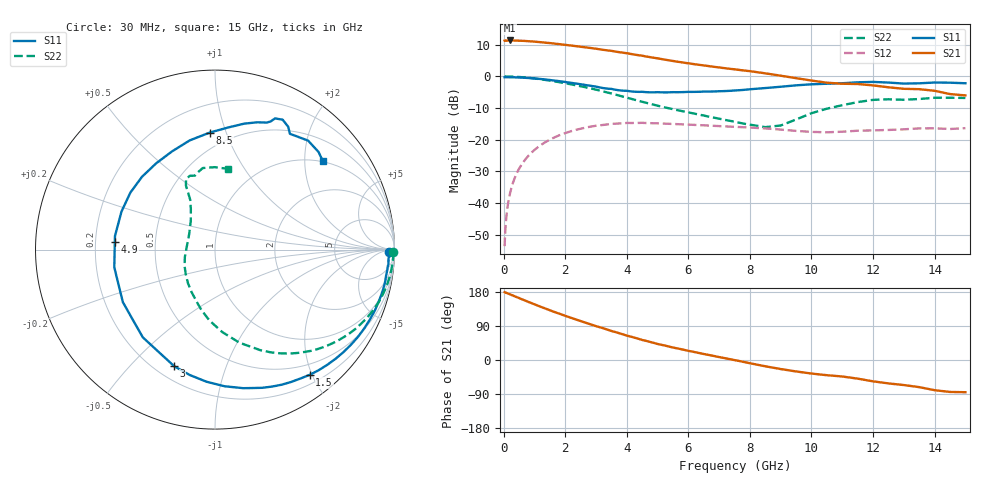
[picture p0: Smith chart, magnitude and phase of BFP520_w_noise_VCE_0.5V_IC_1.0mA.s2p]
! Infineon Technologies  Discrete & RF Semiconductors
! BFP520
! VCE =  0.5 V,  IC =  1.0 mA
! Common Emitter S-Parameters:  Oct 2015
# GHz  S  MA  R  50
!  f  S11  S21  S12  S22
! GHz  MAG  ANG  MAG  ANG  MAG  ANG  MAG  ANG
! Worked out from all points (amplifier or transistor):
!   109 points, 30 MHz to 15 GHz, reference 50 ohm
!   highest |S21| = 11.3 dB at 200 MHz (marker M1)
!   |S21| within 3 dB of that: start of sweep to 3.263 GHz
!   unconditionally stable (mu >= 1): 5.447 GHz to end of sweep
!   at 450 MHz: K = 0.03, MSG = 20.7 dB, |S12| = -30.1 dB
!   at 4 GHz: K = 0.66, MSG = 11.0 dB, |S12| = -14.7 dB
!   at 15 GHz: K = 2.13, MAG = -0.9 dB, |S12| = -16.3 dB
!   lowest NFmin = 0.87 dB at 900 MHz
!   S11 on the Smith chart (normalised r, x): 30 MHz: 50, -24; 1.5 GHz: 0.33, -1.97; 3 GHz: 0.27, -0.67; 4.9 GHz: 0.28, +0.03; 8.5 GHz: 0.39, +0.88; 15 GHz: 0.98, +2.45
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0.03  0.9679 -0.9  3.651 179.0  0.0021 87.8  0.9934 -0.8
0.06  0.9693 -1.9  3.641 177.8  0.0043 88.6  0.9936 -1.5
0.1  0.97 -3.6  3.646 176.7  0.007 88.0  0.9932 -2.5
0.2  0.9664 -6.9  3.674 173.4  0.0139 85.9  0.9909 -5.1
0.45  0.9596 -15.6  3.651 165.1  0.0314 80.6  0.979 -11.4
0.8  0.9406 -27.8  3.575 153.3  0.0556 72.5  0.9481 -20.0
1.2  0.9067 -42.0  3.451 140.5  0.0821 63.2  0.8984 -29.5
1.5  0.8748 -52.9  3.341 131.3  0.1004 56.3  0.8549 -36.1
2  0.8139 -71.1  3.136 116.6  0.1275 45.1  0.7775 -46.5
2.6  0.7376 -93.7  2.886 100.0  0.1531 32.4  0.6812 -58.0
3  0.6884 -109.3  2.723 89.4  0.1664 24.3  0.6162 -65.6
3.5  0.6329 -129.5  2.521 76.6  0.178 14.5  0.5364 -75.3
4  0.591 -150.3  2.314 64.4  0.184 5.3  0.4611 -85.0
4.5  0.5697 -170.1  2.11 52.9  0.1847 -2.9  0.3967 -94.4
4.9  0.5595 175.8  1.952 44.6  0.1819 -8.5  0.3539 -100.9
5.1  0.5596 169.4  1.881 40.6  0.1805 -11.0  0.3353 -104.2
6.1  0.568 143.8  1.577 22.6  0.1723 -21.5  0.2637 -120.7
7.6  0.6011 111.4  1.27 -1.8  0.1591 -33.3  0.188 -154.1
8.5  0.6529 92.5  1.114 -16.6  0.1508 -39.4  0.158 173.5
10.5  0.7638 67.9  0.793 -40.1  0.1309 -43.7  0.3087 116.5
13  0.7682 57.1  0.635 -66.1  0.146 -50.7  0.427 105.2
15  0.7771 39.4  0.5 -85.0  0.1523 -60.2  0.4556 81.0
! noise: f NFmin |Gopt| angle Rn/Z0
0.45  0.88  0.79  5  0.61
0.9  0.87  0.75  15  0.62
1.9  1.31  0.61  32  0.51
2.4  1.44  0.57  45  0.48
3.5  1.45  0.55  70  0.41
